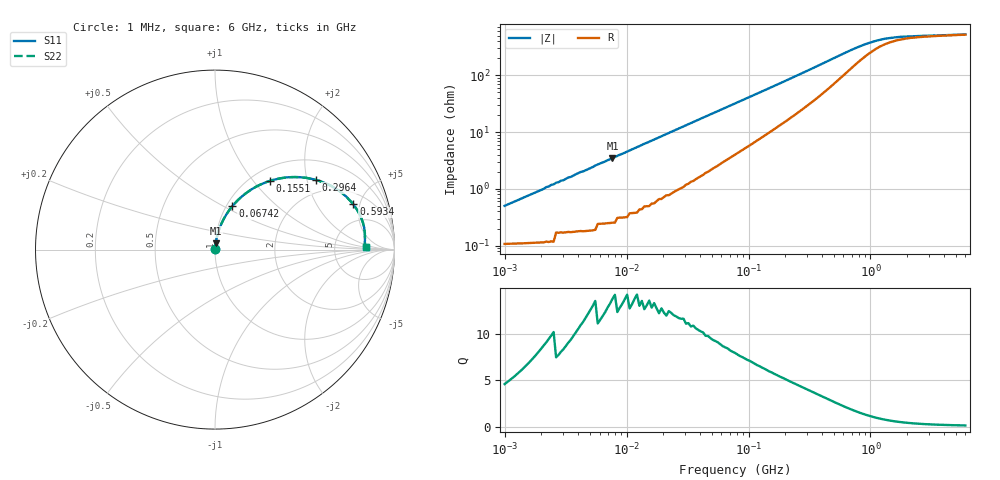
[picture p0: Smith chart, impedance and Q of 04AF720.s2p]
# MHz S MA R 50
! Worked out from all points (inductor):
!   189 points, 1 MHz to 6 GHz, reference 50 ohm
!   read as one part in series: L = 77.7 nH near 1 MHz
!   highest Q = 13.7 at 7.66 MHz (marker M1), where L = 72.5 nH
!   S11 on the Smith chart (normalised r, x): 1 MHz: 1.00, +0.01; 67.42 MHz: 1.07, +0.55; 155.1 MHz: 1.21, +1.22; 296.4 MHz: 1.56, +2.28; 593.4 MHz: 2.95, +4.34; 6 GHz: 11, +1
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1  0.005045 76.4  0.999 -0.3  0.999 -0.3  0.005045 76.4
2.097  0.01 81.8  0.999 -0.6  0.999 -0.6  0.01 81.8
2.196  0.011 82.0  0.999 -0.6  0.999 -0.6  0.011 82.0
2.409  0.012 82.4  0.999 -0.7  0.999 -0.7  0.012 82.4
3.036  0.014 83.1  0.998 -0.8  0.998 -0.8  0.014 83.1
4.198  0.02 83.7  0.998 -1.1  0.998 -1.1  0.02 83.7
4.396  0.02 83.7  0.998 -1.2  0.998 -1.2  0.02 83.7
7.66  0.035 83.6  0.997 -2.0  0.997 -2.0  0.035 83.6
18.454  0.08 80.9  0.99 -4.6  0.99 -4.6  0.08 80.9
38.693  0.16 75.3  0.972 -9.1  0.972 -9.1  0.16 75.3
67.42  0.261 68.2  0.935 -15.0  0.935 -15.0  0.261 68.2
77.46  0.293 65.9  0.92 -16.9  0.92 -16.9  0.293 65.9
107.091  0.379 59.7  0.873 -22.0  0.873 -22.0  0.379 59.7
155.069  0.491 51.3  0.792 -29.0  0.792 -29.0  0.491 51.3
214.388  0.592 43.0  0.696 -35.5  0.696 -35.5  0.592 43.0
296.398  0.684 34.5  0.584 -41.6  0.584 -41.6  0.684 34.5
340.538  0.718 30.9  0.533 -43.9  0.533 -43.9  0.718 30.9
593.368  0.811 18.1  0.341 -47.7  0.341 -47.7  0.811 18.1
942.517  0.838 10.3  0.231 -40.4  0.231 -40.4  0.838 10.3
1429.415  0.839 5.9  0.186 -27.5  0.186 -27.5  0.839 5.9
2490.674  0.836 2.9  0.17 -14.3  0.17 -14.3  0.836 2.9
6000  0.841 1.2  0.161 -6.1  0.161 -6.1  0.841 1.2
